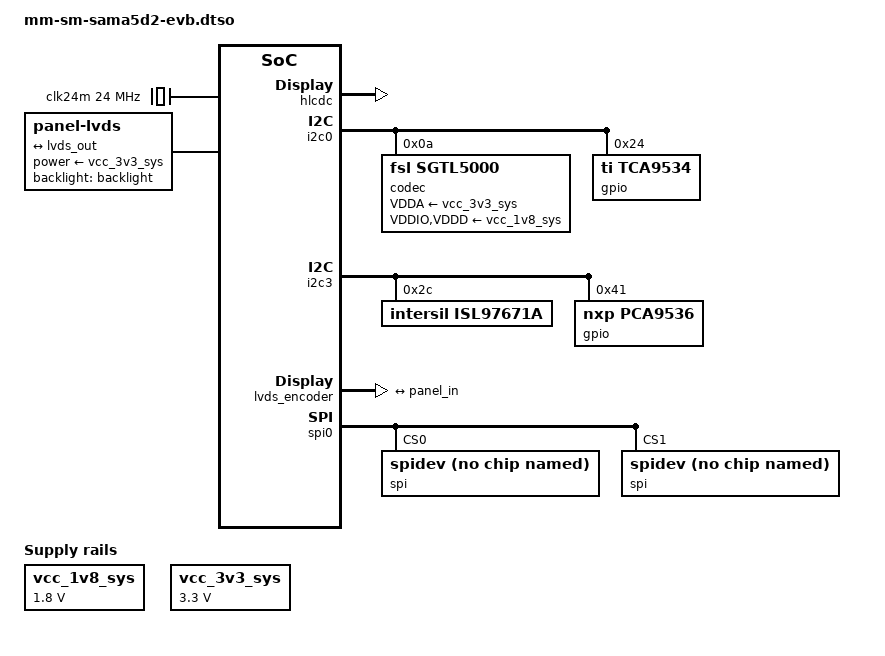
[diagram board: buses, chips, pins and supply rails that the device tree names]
/* SPDX-License-Identifier: GPL-2.0+ */
/* SPDX-FileCopyrightText: Alexander Shiyan <shc_work@mail.ru> */

/dts-v1/;
/plugin/;

#include <arm/microchip/sama5d2-pinfunc.h>

&{/} {
	model = "Mega-Milas SAMA5D2 EVB";
	compatible = "milas,mm-sm-sama5d2-evb", "milas,mm-sm-sama5d2",
		     "atmel,sama5d27", "atmel,sama5d2", "atmel,sama5";

	clk24m: clk24m {
		compatible = "fixed-clock";
		clock-frequency = <24000000>;
		#clock-cells = <0>;
	};

	panel {
		compatible = "panel-lvds";
		backlight = <&backlight>;
		data-mapping = "jeida-18";
		power-supply = <&vcc_3v3_sys>;
		width-mm = <0>;
		height-mm = <0>;

#if 0
		/* AT070TN94 */
		panel-timing {
			clock-frequency = <26400000 33300000 46800000>;
			hactive = <800>;
			vactive = <480>;
			hback-porch = <46>;
			hfront-porch = <16 209 354>;
			hsync-len = <1 1 40>;
			vback-porch = <23>;
			vfront-porch = <7 21 147>;
			vsync-len = <1 1 20>;
			hsync-active = <0>;
			vsync-active = <0>;
			de-active = <1>;
			pixelclk-active = <0>;
		};
#endif

		/* PH320240T, G057QN01 */
		panel-timing {
			clock-frequency = <6400000>;
			hactive = <320>;
			vactive = <240>;
			hback-porch = <38>;
			hfront-porch = <20>;
			hsync-len = <30>;
			vback-porch = <15>;
			vfront-porch = <5>;
			vsync-len = <1 3 5>;
			hsync-active = <0>;
			vsync-active = <0>;
			de-active = <1>;
			pixelclk-active = <1>;
		};

		port {
			panel_in: endpoint {
				remote-endpoint = <&lvds_out>;
			};
		};
	};

	sound {
		compatible = "simple-audio-card";
		simple-audio-card,format = "i2s";
		simple-audio-card,bitclock-master = <&sound_master>;
		simple-audio-card,frame-master = <&sound_master>;
		simple-audio-card,mclk-fs = <512>;
		simple-audio-card,name = "I2S0SGTL5000";

		sound_master: simple-audio-card,cpu {
			sound-dai = <&i2s0>;
		};

		simple-audio-card,codec {
			sound-dai = <&codec>;
		};
	};

	vcc_1v8_sys: vcc-1v8-sys-regulator {
		compatible = "regulator-fixed";
		regulator-name = "vcc_1v8_sys";
		regulator-min-microvolt = <1800000>;
		regulator-max-microvolt = <1800000>;
		regulator-always-on;
		regulator-boot-on;
	};

	vcc_3v3_sys: vcc-3v3-sys-regulator {
		compatible = "regulator-fixed";
		regulator-name = "vcc_3v3_sys";
		regulator-min-microvolt = <3300000>;
		regulator-max-microvolt = <3300000>;
		regulator-always-on;
		regulator-boot-on;
	};
};

&hlcdc {
	status = "okay";

	hlcdc-display-controller {
		bus-width = <18>;
	};
};

&i2c0 {
	#address-cells = <1>;
	#size-cells = <0>;

	codec: codec@a {
		compatible = "fsl,sgtl5000";
		reg =<0xa>;
		clocks = <&clk24m>;
		micbias-resistor-k-ohms = <2>;
		micbias-voltage-m-volts = <2250>;
		VDDA-supply = <&vcc_3v3_sys>;
		VDDIO-supply = <&vcc_1v8_sys>;
		VDDD-supply = <&vcc_1v8_sys>;
		#sound-dai-cells = <0>;
	};

	gpio@24 {
		/* EVB revision */
		compatible = "ti,tca9534", "nxp,pca9534";
		reg = <0x24>;
		gpio-controller;
		#gpio-cells = <2>;
	};
};

&i2c3 {
	#address-cells = <1>;
	#size-cells = <0>;

	isl97671a@2c {
		compatible = "intersil,isl97671a";
		reg = <0x2c>;
	};

	gpio@41 {
		/* Display ID */
		compatible = "nxp,pca9536";
		reg = <0x41>;
		gpio-controller;
		#gpio-cells = <2>;
	};
};

&lvds_encoder {
	status = "okay";

	ports {
		#address-cells = <1>;
		#size-cells = <0>;

		port@1 {
			reg = <1>;

			lvds_out: endpoint {
				remote-endpoint = <&panel_in>;
			};
		};
	};
};

&spi0 {
	#address-cells = <1>;
	#size-cells = <0>;

	spi@0 {
		compatible = "rohm,dh2228fv";
		reg = <0>;
	};

	spi@1 {
		compatible = "rohm,dh2228fv";
		reg = <1>;
	};
};

&pioA {
	pinctrl-names = "default";
	pinctrl-0 = <&pinctrl_gpio>;

	pinctrl_gpio: gpio-grp {
		pinmux = <PIN_PB0__GPIO>,			/* P108 GPIO0 */
			 <PIN_PD17__GPIO>,			/* P109 GPIO1 */
			 <PIN_PD6__GPIO>,			/* P110 GPIO2 */
			 <PIN_PC16__GPIO>,			/* P111 GPIO3 */
			 <PIN_PC14__GPIO>,			/* P112 GPIO4 */
			 <PIN_PB5__GPIO>,			/* P113 GPIO5 */
			 <PIN_PB6__GPIO>,			/* P114 GPIO6 */
			 <PIN_PC28__GPIO>,			/* P115 GPIO7 */
			 <PIN_PB7__GPIO>,			/* P116 GPIO8 */
			 <PIN_PB8__GPIO>,			/* P117 GPIO9 */
			 <PIN_PC15__GPIO>,			/* P118 GPIO10 */
			 <PIN_PC17__GPIO>,			/* P119 GPIO11 */
			 <PIN_PC24__GPIO>,			/* S142 GPIO12 */
			 <PIN_PD8__GPIO>;			/* S123 GPIO13 */
		bias-disable;
	};

	pinctrl_hlcdc_default: hlcdc-grp-default {
		bits24 {
			pinmux = <PIN_PB11__GPIO>,
				 <PIN_PB12__GPIO>,
				 <PIN_PB19__GPIO>,
				 <PIN_PB20__GPIO>,
				 <PIN_PB27__GPIO>,
				 <PIN_PB28__GPIO>;
			bias-pull-down;
		};
	};
};
